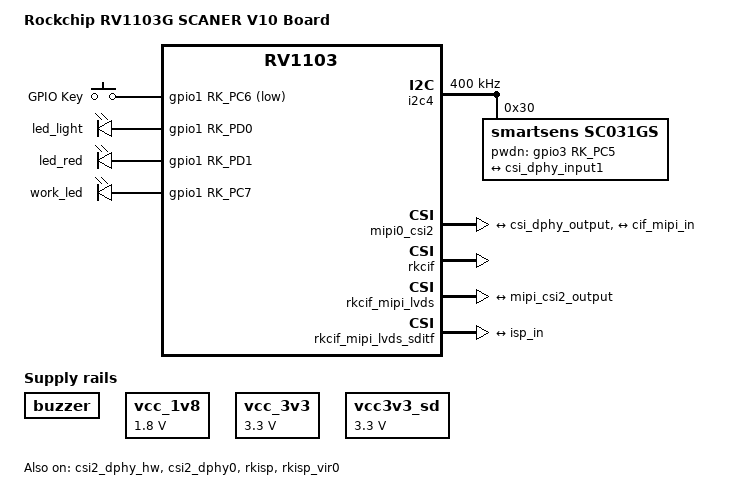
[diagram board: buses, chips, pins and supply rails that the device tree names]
// SPDX-License-Identifier: (GPL-2.0+ OR MIT)
/*
 * Copyright (c) 2022 Rockchip Electronics Co., Ltd.
 */

/dts-v1/;
#include <dt-bindings/input/input.h>
#include "rv1103.dtsi"
#include "rv1103-evb-v10.dtsi"

/ {
	model = "Rockchip RV1103G SCANER V10 Board";
	compatible = "rockchip,rv1103g-scaner-v10", "rockchip,rv1103";

	buzzer {
		compatible = "regulator-gpio";
		gpio = <&gpio0 RK_PA4 GPIO_ACTIVE_HIGH>;
		pinctrl-names = "default";
		pinctrl-0 = <&gpio_buzzer>;
	};

	gpio-keys {
		compatible = "gpio-keys";
		autorepeat;

		key {
			gpios = <&gpio1 RK_PC6 GPIO_ACTIVE_LOW>;
			linux,code = <KEY_1>;
			label = "GPIO Key";
			linux,input-type = <1>;
			wakeup-source;
			debounce-interval = <100>;
		};
	};

	leds: gpio-leds {
		compatible = "gpio-leds";
		pinctrl-names = "default";
		pinctrl-0 = <&gpio_leds>;

		led_light {
			gpios = <&gpio1 RK_PD0 GPIO_ACTIVE_HIGH>;
			label = "led_light";
		};

		led_red {
			gpios = <&gpio1 RK_PD1 GPIO_ACTIVE_HIGH>;
			label = "led_red";
		};

		work_led {
			gpios = <&gpio1 RK_PC7 GPIO_ACTIVE_HIGH>;
			label = "work_led";
		};
	};

	vcc_1v8: vcc-1v8 {
		compatible = "regulator-fixed";
		regulator-name = "vcc_1v8";
		regulator-always-on;
		regulator-boot-on;
		regulator-min-microvolt = <1800000>;
		regulator-max-microvolt = <1800000>;
	};

	vcc_3v3: vcc-3v3 {
		compatible = "regulator-fixed";
		regulator-name = "vcc_3v3";
		regulator-always-on;
		regulator-boot-on;
		regulator-min-microvolt = <3300000>;
		regulator-max-microvolt = <3300000>;
	};

	vcc3v3_sd: vcc3v3-sd {
		compatible = "regulator-fixed";
		regulator-name = "vcc3v3_sd";
		regulator-always-on;
		regulator-boot-on;
		regulator-min-microvolt = <3300000>;
		regulator-max-microvolt = <3300000>;
	};
};

&acodec {
	status = "disabled";
};

&csi2_dphy_hw {
	status = "okay";
};

&csi2_dphy0 {
	status = "okay";

	ports {
		#address-cells = <1>;
		#size-cells = <0>;

		port@0 {
			reg = <0>;
			#address-cells = <1>;
			#size-cells = <0>;

			csi_dphy_input1: endpoint@0 {
				reg = <0>;
				remote-endpoint = <&sc031gs_out>;
				data-lanes = <1>;
			};
		};

		port@1 {
			reg = <1>;
			#address-cells = <1>;
			#size-cells = <0>;

			csi_dphy_output: endpoint@0 {
				reg = <0>;
				remote-endpoint = <&mipi_csi2_input>;
			};
		};
	};
};

&i2c4 {
	status = "okay";
	clock-frequency = <400000>;
	pinctrl-names = "default";
	pinctrl-0 = <&i2c4m2_xfer>;

	sc031gs: sc031gs@30 {
		compatible = "smartsens,sc031gs";
		status = "okay";
		reg = <0x30>;
		clocks = <&cru MCLK_REF_MIPI0>;
		clock-names = "xvclk";
		pwdn-gpios = <&gpio3 RK_PC5 GPIO_ACTIVE_HIGH>;
		pinctrl-names = "default";
		pinctrl-0 = <&mipi_refclk_out0>;
		rockchip,camera-module-index = <0>;
		rockchip,camera-module-facing = "back";
		rockchip,camera-module-name = "CMK-HRG537A5-H211";
		rockchip,camera-module-lens-name = "12IR-F24";
		port {
			sc031gs_out: endpoint {
				remote-endpoint = <&csi_dphy_input1>;
				data-lanes = <1>;
			};
		};
	};
};

&mipi0_csi2 {
	status = "okay";

	ports {
		#address-cells = <1>;
		#size-cells = <0>;

		port@0 {
			reg = <0>;
			#address-cells = <1>;
			#size-cells = <0>;

			mipi_csi2_input: endpoint@1 {
				reg = <1>;
				remote-endpoint = <&csi_dphy_output>;
			};
		};

		port@1 {
			reg = <1>;
			#address-cells = <1>;
			#size-cells = <0>;

			mipi_csi2_output: endpoint@0 {
				reg = <0>;
				remote-endpoint = <&cif_mipi_in>;
			};
		};
	};
};

&pinctrl {
	buzzer {
		gpio_buzzer: gpio-buzzer {
			rockchip,pins = <0 RK_PA4 RK_FUNC_GPIO &pcfg_pull_none>;
		};
	};

	gpio-leds {
		gpio_leds: gpio-leds {
			rockchip,pins =
			<1 RK_PC7 RK_FUNC_GPIO &pcfg_pull_none>,
			<1 RK_PD0 RK_FUNC_GPIO &pcfg_pull_none>,
			<1 RK_PD1 RK_FUNC_GPIO &pcfg_pull_none>;
		};
	};
};

&rkcif {
	status = "okay";
};

&rkcif_mipi_lvds {
	status = "okay";

	pinctrl-names = "default";
	pinctrl-0 = <&mipi_pins>;
	port {
		/* MIPI CSI-2 endpoint */
		cif_mipi_in: endpoint {
			remote-endpoint = <&mipi_csi2_output>;
		};
	};
};

&rkcif_mipi_lvds_sditf {
	status = "okay";

	port {
		/* MIPI CSI-2 endpoint */
		mipi_lvds_sditf: endpoint {
			remote-endpoint = <&isp_in>;
		};
	};
};

&rkisp {
	status = "okay";
};

&rkisp_vir0 {
	status = "okay";

	port@0 {
		isp_in: endpoint {
			remote-endpoint = <&mipi_lvds_sditf>;
		};
	};
};

